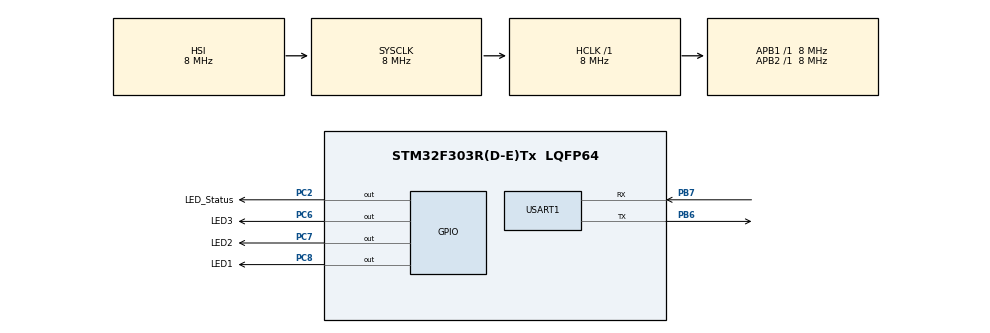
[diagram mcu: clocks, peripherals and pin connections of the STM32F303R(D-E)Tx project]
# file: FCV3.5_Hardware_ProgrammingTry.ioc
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Mcu.Family=STM32F3
RCC.PLLSourceVirtual=RCC_PLLSOURCE_HSE
RCC.CortexFreq_Value=8000000
PC8.Signal=GPIO_Output
PC2.Signal=GPIO_Output
PC6.Signal=GPIO_Output
PC6.GPIO_Label=LED3
VP_TIM16_VS_ClockSourceINT.Mode=Enable_Timer
ProjectManager.StackSize=0x400
PC8.GPIO_Label=LED1
USART1.VirtualMode-Asynchronous=VM_ASYNC
PA13.Signal=SYS_JTMS-SWDIO
ProjectManager.TargetToolchain=STM32CubeIDE
PB6.Signal=USART1_TX
PC7.Signal=GPIO_Output
PB6.Mode=Asynchronous
RCC.USBFreq_Value=32000000
RCC.LSE_VALUE=32768
RCC.AHBFreq_Value=8000000
PF0-OSC_IN.Mode=HSE-External-Oscillator
RCC.HSE_VALUE=16000000
PB3.Mode=Trace_Asynchronous_SW
board=custom
RCC.APB2Freq_Value=8000000
PA14.Mode=Trace_Asynchronous_SW
PB7.Signal=USART1_RX
PA13.Mode=Trace_Asynchronous_SW
Mcu.Name=STM32F303R(D-E)Tx
PC7.GPIO_Label=LED2
PB3.Signal=SYS_JTDO-TRACESWO
RCC.SYSCLKFreq_VALUE=8000000
Mcu.Package=LQFP64
PB7.Mode=Asynchronous
PA14.Signal=SYS_JTCK-SWCLK
ProjectManager.HeapSize=0x200
RCC.HSI_VALUE=8000000
NVIC.PriorityGroup=NVIC_PRIORITYGROUP_4
PF0-OSC_IN.Signal=RCC_OSC_IN
PF1-OSC_OUT.Mode=HSE-External-Oscillator
RCC.APB1Freq_Value=8000000
PC2.GPIO_Label=LED_Status
PF1-OSC_OUT.Signal=RCC_OSC_OUT

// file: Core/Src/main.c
/* USER CODE BEGIN Header */
/**
  ******************************************************************************
  * @file           : main.c
  * @brief          : Main program body
  ******************************************************************************
  * @attention
  *
  * <h2><center>&copy; Copyright (c) 2021 STMicroelectronics.
  * All rights reserved.</center></h2>
  *
  * This software component is licensed by ST under BSD 3-Clause license,
  * the "License"; You may not use this file except in compliance with the
  * License. You may obtain a copy of the License at:
  *                        opensource.org/licenses/BSD-3-Clause
  *
  ******************************************************************************
  */
/* USER CODE END Header */
#include "main.h"

/* USER CODE BEGIN Includes */
#include <stdio.h>
#include <stdlib.h>
/* USER CODE END Includes */

TIM_HandleTypeDef htim16;

UART_HandleTypeDef huart1;

void SystemClock_Config(void);
static void MX_GPIO_Init(void);
static void MX_TIM16_Init(void);
static void MX_USART1_UART_Init(void);

int main(void)
{

  /* MCU Configuration--------------------------------------------------------*/

  /* Reset of all peripherals, Initializes the Flash interface and the Systick. */
  HAL_Init();

  /* Configure the system clock */
  SystemClock_Config();

  /* Initialize all configured peripherals */
  MX_GPIO_Init();
  MX_TIM16_Init();
  MX_USART1_UART_Init();
  /* USER CODE BEGIN 2 */
  // reset LEDs
  HAL_GPIO_WritePin(LED_Status_GPIO_Port, LED_Status_Pin, RESET);
  HAL_GPIO_WritePin(LED1_GPIO_Port, LED1_Pin, RESET);
  HAL_GPIO_WritePin(LED2_GPIO_Port, LED2_Pin, RESET);
  HAL_GPIO_WritePin(LED3_GPIO_Port, LED3_Pin, RESET);
  /* USER CODE END 2 */

  /* Infinite loop */
  /* USER CODE BEGIN WHILE */
  while (1)
  {
		HAL_GPIO_WritePin(LED_Status_GPIO_Port, LED_Status_Pin, SET);
		HAL_Delay(250);

		HAL_GPIO_WritePin(LED1_GPIO_Port, LED1_Pin, SET);
		HAL_Delay(250);

		HAL_GPIO_WritePin(LED2_GPIO_Port, LED2_Pin, SET);
		HAL_Delay(250);

		HAL_GPIO_WritePin(LED3_GPIO_Port, LED3_Pin, SET);
		HAL_Delay(1000);

		HAL_GPIO_WritePin(LED_Status_GPIO_Port, LED_Status_Pin, RESET);
		HAL_GPIO_WritePin(LED1_GPIO_Port, LED1_Pin, RESET);
		HAL_GPIO_WritePin(LED2_GPIO_Port, LED2_Pin, RESET);
		HAL_GPIO_WritePin(LED3_GPIO_Port, LED3_Pin, RESET);
		HAL_Delay(1000);
    /* USER CODE END WHILE */

  }
}

void SystemClock_Config(void)
{
  RCC_OscInitTypeDef RCC_OscInitStruct = {0};
  RCC_ClkInitTypeDef RCC_ClkInitStruct = {0};
  RCC_PeriphCLKInitTypeDef PeriphClkInit = {0};

  /** Initializes the RCC Oscillators according to the specified parameters
  * in the RCC_OscInitTypeDef structure.
  */
  RCC_OscInitStruct.OscillatorType = RCC_OSCILLATORTYPE_HSI;
  RCC_OscInitStruct.HSIState = RCC_HSI_ON;
  RCC_OscInitStruct.HSICalibrationValue = RCC_HSICALIBRATION_DEFAULT;
  RCC_OscInitStruct.PLL.PLLState = RCC_PLL_NONE;
  if (HAL_RCC_OscConfig(&RCC_OscInitStruct) != HAL_OK)
  {
    Error_Handler();
  }
  /** Initializes the CPU, AHB and APB buses clocks
  */
  RCC_ClkInitStruct.ClockType = RCC_CLOCKTYPE_HCLK|RCC_CLOCKTYPE_SYSCLK
                              |RCC_CLOCKTYPE_PCLK1|RCC_CLOCKTYPE_PCLK2;
  RCC_ClkInitStruct.SYSCLKSource = RCC_SYSCLKSOURCE_HSI;
  RCC_ClkInitStruct.AHBCLKDivider = RCC_SYSCLK_DIV1;
  RCC_ClkInitStruct.APB1CLKDivider = RCC_HCLK_DIV1;
  RCC_ClkInitStruct.APB2CLKDivider = RCC_HCLK_DIV1;

  if (HAL_RCC_ClockConfig(&RCC_ClkInitStruct, FLASH_LATENCY_0) != HAL_OK)
  {
    Error_Handler();
  }
  PeriphClkInit.PeriphClockSelection = RCC_PERIPHCLK_USART1|RCC_PERIPHCLK_TIM16;
  PeriphClkInit.Usart1ClockSelection = RCC_USART1CLKSOURCE_PCLK2;
  PeriphClkInit.Tim16ClockSelection = RCC_TIM16CLK_HCLK;
  if (HAL_RCCEx_PeriphCLKConfig(&PeriphClkInit) != HAL_OK)
  {
    Error_Handler();
  }
}

static void MX_TIM16_Init(void)
{

  htim16.Instance = TIM16;
  htim16.Init.Prescaler = 0;
  htim16.Init.CounterMode = TIM_COUNTERMODE_UP;
  htim16.Init.Period = 65535;
  htim16.Init.ClockDivision = TIM_CLOCKDIVISION_DIV1;
  htim16.Init.RepetitionCounter = 0;
  htim16.Init.AutoReloadPreload = TIM_AUTORELOAD_PRELOAD_DISABLE;
  if (HAL_TIM_Base_Init(&htim16) != HAL_OK)
  {
    Error_Handler();
  }

}

static void MX_USART1_UART_Init(void)
{

  huart1.Instance = USART1;
  huart1.Init.BaudRate = 38400;
  huart1.Init.WordLength = UART_WORDLENGTH_8B;
  huart1.Init.StopBits = UART_STOPBITS_1;
  huart1.Init.Parity = UART_PARITY_NONE;
  huart1.Init.Mode = UART_MODE_TX_RX;
  huart1.Init.HwFlowCtl = UART_HWCONTROL_NONE;
  huart1.Init.OverSampling = UART_OVERSAMPLING_16;
  huart1.Init.OneBitSampling = UART_ONE_BIT_SAMPLE_DISABLE;
  huart1.AdvancedInit.AdvFeatureInit = UART_ADVFEATURE_NO_INIT;
  if (HAL_UART_Init(&huart1) != HAL_OK)
  {
    Error_Handler();
  }

}

static void MX_GPIO_Init(void)
{
  GPIO_InitTypeDef GPIO_InitStruct = {0};

  /* GPIO Ports Clock Enable */
  __HAL_RCC_GPIOF_CLK_ENABLE();
  __HAL_RCC_GPIOC_CLK_ENABLE();
  __HAL_RCC_GPIOA_CLK_ENABLE();
  __HAL_RCC_GPIOB_CLK_ENABLE();

  /*Configure GPIO pin Output Level */
  HAL_GPIO_WritePin(GPIOC, LED_Status_Pin|LED3_Pin|LED2_Pin|LED1_Pin, GPIO_PIN_RESET);

  /*Configure GPIO pins : LED_Status_Pin LED3_Pin LED2_Pin LED1_Pin */
  GPIO_InitStruct.Pin = LED_Status_Pin|LED3_Pin|LED2_Pin|LED1_Pin;
  GPIO_InitStruct.Mode = GPIO_MODE_OUTPUT_PP;
  GPIO_InitStruct.Pull = GPIO_NOPULL;
  GPIO_InitStruct.Speed = GPIO_SPEED_FREQ_LOW;
  HAL_GPIO_Init(GPIOC, &GPIO_InitStruct);

}

void Error_Handler(void)
{
  __disable_irq();
  while (1)
  {
  }
}

/************************ (C) COPYRIGHT STMicroelectronics *****END OF FILE****/
